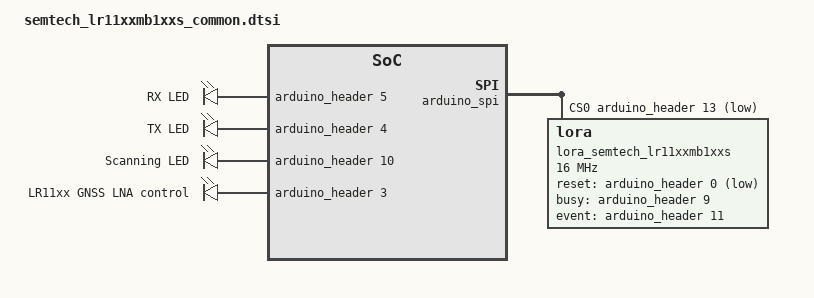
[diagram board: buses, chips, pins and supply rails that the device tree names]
/*
 * Copyright (c) 2025 Semtech Corporation
 *
 * SPDX-License-Identifier: Apache-2.0
 */

#include <zephyr/dt-bindings/usp/lr11xx.h>

/ {
	chosen {
		zephyr,lorawan-transceiver = &lora_semtech_lr11xxmb1xxs;
	};
	aliases {
		lora-transceiver = &lora_semtech_lr11xxmb1xxs;
	};
	leds {
		lora_rx_led: lr11xx_rx_led {
			gpios = <&arduino_header 5 GPIO_ACTIVE_HIGH>;
			label = "RX LED";
		};
		lora_tx_led: lr11xx_tx_led {
			gpios = <&arduino_header 4 GPIO_ACTIVE_HIGH>;
			label = "TX LED";
		};
		lora_scanning_led: lr11xx_scanning_led {
			gpios = <&arduino_header 10 GPIO_ACTIVE_HIGH>;
			label = "Scanning LED";
		};
		lora_gnss_lna_control: lr11xx_gnss_lna_control {
			/* Not an LED but necessary */
			gpios = <&arduino_header 3 GPIO_ACTIVE_HIGH>;
			label = "LR11xx GNSS LNA control";
		};
	};
};

&arduino_spi {
	status = "okay";
	overrun-character = <0>; //Defines state of MOSI when SPI RX

	cs-gpios = <&arduino_header 13 GPIO_ACTIVE_LOW>;

	lora_semtech_lr11xxmb1xxs: lora@0 {
		reg = <0>;
		spi-max-frequency = <DT_FREQ_M(16)>;

		reset-gpios = <&arduino_header 0 GPIO_ACTIVE_LOW>;

		busy-gpios = <&arduino_header 9 GPIO_ACTIVE_HIGH>;

		event-gpios = <&arduino_header 11 (GPIO_ACTIVE_HIGH | GPIO_PULL_DOWN)>;

		lf-tx-path = <LR11XX_TX_PATH_LF_LP_HP>;

		lf-clk = <LR11XX_LFCLK_XTAL>;
		reg-mode = <LR11XX_REG_MODE_DCDC>;

		rf-sw-enable = <(LR11XX_DIO5 | LR11XX_DIO6 | LR11XX_DIO7)>;
		rf-sw-rx-mode = <LR11XX_DIO5>;
		rf-sw-tx-mode = <(LR11XX_DIO5 | LR11XX_DIO6)>;
		rf-sw-tx-hp-mode = <LR11XX_DIO6>;
		rf-sw-gnss-mode = <LR11XX_DIO7>;

		tcxo-voltage = <LR11XX_TCXO_SUPPLY_1_8V>;
		/* Default to XTAL board */
		tcxo-wakeup-time = <0>;

		tx-power-cfg-lf-lp =
		/* power, pa_duty_cycle, pa_hp_sel */
		<(-15) 0x00 0x00>, /* Expected output power = -17dBm */
		<(-14) 0x00 0x00>, /* Expected output power = -16dBm */
		<(-13) 0x00 0x00>, /* Expected output power = -15dBm */
		<(-12) 0x00 0x00>, /* Expected output power = -14dBm */
		<(-11) 0x00 0x00>, /* Expected output power = -13dBm */
		<(-9) 0x00 0x00>, /* Expected output power = -12dBm */
		<(-8) 0x00 0x00>, /* Expected output power = -11dBm */
		<(-7) 0x00 0x00>, /* Expected output power = -10dBm */
		<(-6) 0x00 0x00>, /* Expected output power = -9dBm */
		<(-5) 0x00 0x00>, /* Expected output power = -8dBm */
		<(-4) 0x00 0x00>, /* Expected output power = -7dBm */
		<(-3) 0x00 0x00>, /* Expected output power = -6dBm */
		<(-2) 0x00 0x00>, /* Expected output power = -5dBm */
		<(-1) 0x00 0x00>, /* Expected output power = -4dBm */
		<( 0) 0x00 0x00>, /* Expected output power = -3dBm */
		<( 1) 0x00 0x00>, /* Expected output power = -2dBm */
		<( 2) 0x00 0x00>, /* Expected output power = -1dBm */
		<( 3) 0x00 0x00>, /* Expected output power = 0dBm */
		<( 3) 0x01 0x00>, /* Expected output power = 1dBm */
		<( 4) 0x01 0x00>, /* Expected output power = 2dBm */
		<( 7) 0x00 0x00>, /* Expected output power = 3dBm */
		<( 8) 0x00 0x00>, /* Expected output power = 4dBm */
		<( 9) 0x00 0x00>, /* Expected output power = 5dBm */
		<( 10) 0x00 0x00>, /* Expected output power = 6dBm */
		<( 12) 0x00 0x00>, /* Expected output power = 7dBm */
		<( 13) 0x00 0x00>, /* Expected output power = 8dBm */
		<( 14) 0x00 0x00>, /* Expected output power = 9dBm */
		<( 13) 0x01 0x00>, /* Expected output power = 10dBm */
		<( 13) 0x02 0x00>, /* Expected output power = 11dBm */
		<( 14) 0x02 0x00>, /* Expected output power = 12dBm */
		<( 14) 0x03 0x00>, /* Expected output power = 13dBm */
		<( 14) 0x04 0x00>, /* Expected output power = 14dBm */
		<( 14) 0x07 0x00>; /* Expected output power = 15dBm */

		tx-power-cfg-lf-hp =
		/* power, pa_duty_cycle, pa_hp_sel */
		<(  9) 0x00 0x00>, /* Expected output power = -9dBm */
		<( 10) 0x00 0x00>, /* Expected output power = -8dBm */
		<( 11) 0x00 0x00>, /* Expected output power = -7dBm */
		<( 12) 0x00 0x00>, /* Expected output power = -6dBm */
		<( 13) 0x00 0x00>, /* Expected output power = -5dBm */
		<( 13) 0x01 0x00>, /* Expected output power = -4dBm */
		<( 13) 0x02 0x00>, /* Expected output power = -3dBm */
		<( 17) 0x02 0x00>, /* Expected output power = -2dBm */
		<( 14) 0x04 0x00>, /* Expected output power = -1dBm */
		<( 12) 0x00 0x01>, /* Expected output power = 0dBm */
		<( 13) 0x00 0x01>, /* Expected output power = 1dBm */
		<( 13) 0x01 0x01>, /* Expected output power = 2dBm */
		<( 13) 0x02 0x01>, /* Expected output power = 3dBm */
		<( 15) 0x00 0x02>, /* Expected output power = 4dBm */
		<( 15) 0x04 0x01>, /* Expected output power = 5dBm */
		<( 14) 0x02 0x02>, /* Expected output power = 6dBm */
		<( 14) 0x01 0x03>, /* Expected output power = 7dBm */
		<( 17) 0x04 0x02>, /* Expected output power = 8dBm */
		<( 22) 0x00 0x01>, /* Expected output power = 9dBm */
		<( 22) 0x01 0x01>, /* Expected output power = 10dBm */
		<( 22) 0x02 0x01>, /* Expected output power = 11dBm */
		<( 22) 0x03 0x01>, /* Expected output power = 12dBm */
		<( 22) 0x00 0x03>, /* Expected output power = 13dBm */
		<( 22) 0x01 0x03>, /* Expected output power = 14dBm */
		<( 22) 0x04 0x02>, /* Expected output power = 15dBm */
		<( 22) 0x01 0x04>, /* Expected output power = 16dBm */
		<( 22) 0x02 0x04>, /* Expected output power = 17dBm */
		<( 22) 0x01 0x06>, /* Expected output power = 18dBm */
		<( 22) 0x03 0x05>, /* Expected output power = 19dBm */
		<( 22) 0x03 0x07>, /* Expected output power = 20dBm */
		<( 22) 0x04 0x06>, /* Expected output power = 21dBm */
		<( 22) 0x04 0x07>; /* Expected output power = 22dBm */

		tx-power-cfg-hf =
		/* power, pa_duty_cycle, pa_hp_sel */
		<(-18) 0x04 0x00>, //Expected output power = -18dBm
		<(-18) 0x04 0x00>, /* Expected output power = -17dBm */
		<(-17) 0x04 0x00>, /* Expected output power = -16dBm */
		<(-16) 0x04 0x00>, /* Expected output power = -15dBm */
		<(-15) 0x04 0x00>, /* Expected output power = -14dBm */
		<(-14) 0x04 0x00>, /* Expected output power = -13dBm */
		<(-14) 0x04 0x00>, /* Expected output power = -12dBm */
		<(-12) 0x04 0x00>, /* Expected output power = -11dBm */
		<(-10) 0x04 0x00>, /* Expected output power = -10dBm */
		<( -9) 0x04 0x00>, /* Expected output power = -9dBm */
		<( -8) 0x04 0x00>, /* Expected output power = -8dBm */
		<( -7) 0x04 0x00>, /* Expected output power = -7dBm */
		<( -6) 0x04 0x00>, /* Expected output power = -6dBm */
		<( -5) 0x04 0x00>, /* Expected output power = -5dBm */
		<( -4) 0x04 0x00>, /* Expected output power = -4dBm */
		<( -3) 0x04 0x00>, /* Expected output power = -3dBm */
		<( -2) 0x03 0x00>, /* Expected output power = -2dBm */
		<( -1) 0x04 0x00>, /* Expected output power = -1dBm */
		<(  0) 0x04 0x00>, /* Expected output power = 0dBm */
		<(  1) 0x00 0x00>, /* Expected output power = 1dBm */
		<(  2) 0x00 0x00>, /* Expected output power = 2dBm */
		<(  4) 0x04 0x00>, /* Expected output power = 3dBm */
		<(  5) 0x04 0x00>, /* Expected output power = 4dBm */
		<(  6) 0x04 0x00>, /* Expected output power = 5dBm */
		<(  7) 0x04 0x00>, /* Expected output power = 6dBm */
		<(  8) 0x04 0x00>, /* Expected output power = 7dBm */
		<(  9) 0x04 0x00>, /* Expected output power = 8dBm */
		<( 10) 0x04 0x00>, /* Expected output power = 9dBm */
		<( 11) 0x04 0x00>, /* Expected output power = 10dBm */
		<( 12) 0x03 0x00>, /* Expected output power = 11dBm */
		<( 13) 0x04 0x00>, /* Expected output power = 12dBm */
		<( 13) 0x00 0x00>; /* Expected output power = 13dBm */


		/* Tune is G4 G5 G6 G7 G8 G9 G10 G11 G12 G13
		 * G13hp1 G13hp2 G13hp3 G13hp4 G13hp5 G13hp6 G13hp7
		 */
		rssi-calibration-lf-offset = <0>;
		rssi-calibration-lf-tune = <12 12 14 0 1 3 4 4 3 6 6 6 6 6 6 6 6>;

		rssi-calibration-mf-offset = <0>;
		rssi-calibration-mf-tune = <2 2 2 3 3 4 5 4 4 6 5 5 6 6 6 7 6>;

		rssi-calibration-hf-offset = <2030>;
		rssi-calibration-hf-tune = <6 7 6 4 3 4 14 12 14 12 12 12 12 8 8 9 9>;

		// Current consumptions
		tx-dbm-to-ua-reg-mode-dcdc-lf-lp-vreg = <
		10820 /* -17 dBm */
		10980 /* -16 dBm */
		11060 /* -15 dBm */
		11160 /* -14 dBm */
		11300 /* -13 dBm */
		11430 /* -12 dBm */
		11550 /* -11 dBm */
		11680 /* -10 dBm */
		11930 /*  -9 dBm */
		12170 /*  -8 dBm */
		12420 /* -7 dBm */
		12650 /* -6 dBm */
		12900 /* -5 dBm */
		13280 /* -4 dBm */
		13600 /* -3 dBm */
		14120 /* -2 dBm */
		14600 /* -1 dBm */
		15090 /*  0 dBm */
		15780 /*  1 dBm */
		16490 /*  2 dBm */
		17250 /*  3 dBm */
		17850 /*  4 dBm */
		18720 /*  5 dBm */
		19640 /*  6 dBm */
		20560 /*  7 dBm */
		21400 /*  8 dBm */
		22620 /*  9 dBm */
		23720 /* 10 dBm */
		25050 /* 11 dBm */
		26350 /* 12 dBm */
		27870 /* 13 dBm */
		28590 /* 14 dBm */
		37820 /* 15 dBm */
		>;

		tx-dbm-to-ua-reg-mode-ldo-lf-lp-vreg = <
		14950 /* -17 dBm */
		15280 /* -16 dBm */
		15530 /* -15 dBm */
		15770 /* -14 dBm */
		16020 /* -13 dBm */
		16290 /* -12 dBm */
		16550 /* -11 dBm */
		16760 /* -10 dBm */
		17280 /*  -9 dBm */
		17770 /*  -8 dBm */
		18250 /* -7 dBm */
		18750 /* -6 dBm */
		19250 /* -5 dBm */
		19960 /* -4 dBm */
		20710 /* -3 dBm */
		21620 /* -2 dBm */
		22570 /* -1 dBm */
		23570 /*  0 dBm */
		24990 /*  1 dBm */
		26320 /*  2 dBm */
		27830 /*  3 dBm */
		29070 /*  4 dBm */
		30660 /*  5 dBm */
		32490 /*  6 dBm */
		34220 /*  7 dBm */
		35820 /*  8 dBm */
		38180 /*  9 dBm */
		40220 /* 10 dBm */
		42800 /* 11 dBm */
		45030 /* 12 dBm */
		47900 /* 13 dBm */
		51220 /* 14 dBm */
		66060 /* 15 dBm */
		>;

		tx-dbm-to-ua-reg-mode-dcdc-lf-hp-vbat = <
		27750  /*  -9 dBm */
		29100  /*  -8 dBm */
		30320  /*  -7 dBm */
		31650  /*  -6 dBm */
		34250  /*  -5 dBm */
		35550  /*  -4 dBm */
		36770  /*  -3 dBm */
		39250  /*  -2 dBm */
		41480  /*  -1 dBm */
		43820  /*   0 dBm */
		46000  /*  1 dBm */
		49020  /*  2 dBm */
		50900  /*  3 dBm */
		54200  /*  4 dBm */
		56330  /*  5 dBm */
		59050  /*  6 dBm */
		62210  /*  7 dBm */
		65270  /*  8 dBm */
		68600  /*  9 dBm */
		71920  /* 10 dBm */
		75500  /* 11 dBm */
		79500  /* 12 dBm */
		84130  /* 13 dBm */
		88470  /* 14 dBm */
		92200  /* 15 dBm */
		94340  /* 16 dBm */
		96360  /* 17 dBm */
		98970  /* 18 dBm */
		102220 /* 19 dBm */
		106250 /* 20 dBm */
		111300 /* 21 dBm */
		113040 /* 22 dBm */
		>;

		tx-dbm-to-ua-reg-mode-ldo-lf-hp-vbat = <
		31310  /*  -9 dBm */
		32700  /*  -8 dBm */
		33970  /*  -7 dBm */
		35270  /*  -6 dBm */
		37900  /*  -5 dBm */
		39140  /*  -4 dBm */
		40380  /*  -3 dBm */
		42860  /*  -2 dBm */
		45150  /*  -1 dBm */
		47400  /*   0 dBm */
		49600  /*  1 dBm */
		52600  /*  2 dBm */
		54460  /*  3 dBm */
		57690  /*  4 dBm */
		59840  /*  5 dBm */
		62550  /*  6 dBm */
		65750  /*  7 dBm */
		68520  /*  8 dBm */
		72130  /*  9 dBm */
		75230  /* 10 dBm */
		78600  /* 11 dBm */
		82770  /* 12 dBm */
		87450  /* 13 dBm */
		91700  /* 14 dBm */
		95330  /* 15 dBm */
		97520  /* 16 dBm */
		99520  /* 17 dBm */
		102080 /* 18 dBm */
		105140 /* 19 dBm */
		109300 /* 20 dBm */
		114460 /* 21 dBm */
		116530 /* 22 dBm */
		>;

		tx-dbm-to-ua-reg-mode-dcdc-hf-vreg = <
		11800 /* -18 dBm */
		11800 /* -17 dBm */
		11800 /* -16 dBm */
		11900 /* -15 dBm */
		12020 /* -14 dBm */
		12120 /* -13 dBm */
		12230 /* -12 dBm */
		12390 /* -11 dBm */
		12540 /* -10 dBm */
		12740 /*  -9 dBm */
		12960 /* -8 dBm */
		13150 /* -7 dBm */
		13460 /* -6 dBm */
		13770 /* -5 dBm */
		14070 /* -4 dBm */
		14460 /* -3 dBm */
		15030 /* -2 dBm */
		15440 /* -1 dBm */
		16030 /*  0 dBm */
		16980 /*  1 dBm */
		17590 /*  2 dBm */
		18270 /*  3 dBm */
		19060 /*  4 dBm */
		19900 /*  5 dBm */
		20740 /*  6 dBm */
		21610 /*  7 dBm */
		22400 /*  8 dBm */
		23370 /*  9 dBm */
		24860 /* 10 dBm */
		26410 /* 11 dBm */
		26430 /* 12 dBm */
		27890 /* 13 dBm */
		>;
	};
};
